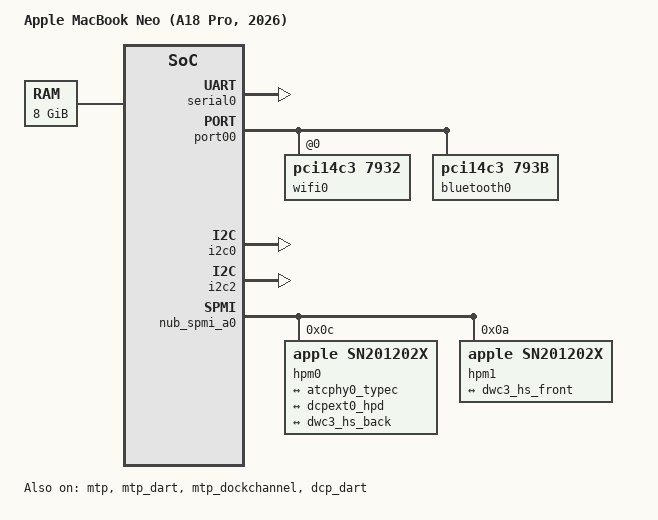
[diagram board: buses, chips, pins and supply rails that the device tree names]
// SPDX-License-Identifier: GPL-2.0-only
/*
 * Apple MacBook Neo (A18 Pro, 2026)
 *
 * target-type: J700
 *
 * Copyright The Asahi Linux Contributors
 */

/dts-v1/;

#include "t8140.dtsi"
#include "t8140-isp.dtsi"
#include "t8140-dcp-reference.dtsi"
#include "t8140-dcpext.dtsi"
#include "t8140-pmp.dtsi"

/ {
	compatible = "apple,j700", "apple,t8140", "apple,arm-platform";
	model = "Apple MacBook Neo (A18 Pro, 2026)";

	aliases {
		wifi0 = &wifi0;
		bluetooth0 = &bluetooth0;
		serial0 = &serial0;
		keyboard = &keyboard;
		atcphy0 = &atcphy0;
		//atcphy1 = &atcphy1;
	};

	chosen {
		#address-cells = <2>;
		#size-cells = <2>;
		ranges;
		stdout-path = "serial0";

		framebuffer0: framebuffer@0 {
			compatible = "apple,simple-framebuffer", "simple-framebuffer";
			reg = <0 0 0 0>; /* To be filled by loader */
			/* Format properties will be added by loader */
			status = "disabled";
		};
	};

	reserved-memory {
		#address-cells = <2>;
		#size-cells = <2>;
		ranges;
		/* To be filled by loader */
	};

	memory@800000000 {
		device_type = "memory";
		reg = <0x100 0 0x2 0>; /* To be filled by loader */
	};
};

&serial0 {
	status = "okay";
};

&port00 {
	wifi0: wifi@0,0 {
		compatible = "pci14c3,7932";
		reg = <0 0 0 0 0>;
		/* The bootloader supplies the factory address from the ADT. */
		local-mac-address = [00 00 00 00 00 00];
	};

	bluetooth0: bluetooth@0,1 {
		compatible = "pci14c3,793b";
		reg = <0x100 0 0 0 0>;
		/* Board bootstrap interval from the J700 ADT. */
		mediatek,bootstrap-delay-ms = <100>;
		/* m1n1 supplies the factory address through bluetooth0. */
		local-bd-address = [00 00 00 00 00 00];
	};
};

&mtp {
	status = "okay";
};
&mtp_mbox {
	status = "okay";
};
&mtp_dart {
	status = "okay";
};
&mtp_dockchannel {
	status = "okay";
};
&mtp_hid {
	multi-touch {
		firmware-name = "apple/tpmtfw-j700.bin";
	};
	mtp {
	};
	keyboard: keyboard {
		hid-country-code = <0>;
		apple,keyboard-layout-id = <0>;
	};
	stm {
	};
};
&i2c0 {
	status = "okay";
};
&i2c2 {
	status = "okay";
};

/* SN201202x owns USB-PD discovery and alternate-mode negotiation. Keep both
 * physical port descriptions separate; only the back port has the DP PHY.
 * IRQ layout matches the SN201202x transport used on M3/M4: the select IRQ
 * (13/39) is needed by Linux even though the macOS ADT lists irq/sleep/wake.
 */
&nub_spmi_a0 {
	hpm0: usb-pd@c {
		compatible = "apple,sn201202x";
		reg = <0xc SPMI_USID>;
		interrupts = <11 IRQ_TYPE_EDGE_RISING>,
			     <13 IRQ_TYPE_EDGE_RISING>,
			     <17 IRQ_TYPE_EDGE_RISING>,
			     <19 IRQ_TYPE_EDGE_RISING>;
		interrupt-names = "irq", "select", "sleep", "wake";

		typec0: connector {
			compatible = "usb-c-connector";
			label = "USB-C back-left";
			power-role = "dual";
			data-role = "host";
		};
	};

	hpm1: usb-pd@a {
		compatible = "apple,sn201202x";
		reg = <0xa SPMI_USID>;
		interrupts = <37 IRQ_TYPE_EDGE_RISING>,
			     <39 IRQ_TYPE_EDGE_RISING>,
			     <43 IRQ_TYPE_EDGE_RISING>,
			     <45 IRQ_TYPE_EDGE_RISING>;
		interrupt-names = "irq", "select", "sleep", "wake";

		typec1: connector {
			compatible = "usb-c-connector";
			label = "USB-C front-left (USB2)";
			power-role = "dual";
			data-role = "host";
		};
	};
};

/* Route live PD orientation and negotiated mode to the back-port PHY. */
&typec0 {
	ports {
		#address-cells = <1>;
		#size-cells = <0>;
		port@1 {
			reg = <1>;
			typec0_ss: endpoint {
				remote-endpoint = <&atcphy0_typec>;
			};
		};
	};
};

&atcphy0 {
	ports {
		#address-cells = <1>;
		#size-cells = <0>;
		port@0 {
			reg = <0>;
			atcphy0_typec: endpoint {
				remote-endpoint = <&typec0_ss>;
			};
		};
	};
};

&dcp_mbox {
	status = "okay";
};
&dcp_dart {
	status = "okay";
};

/* A separate HPD sink follows the physical lane mux in the connector graph. */
&typec0 {
	ports {
		port@2 {
			reg = <2>;
			typec0_hpd: endpoint {
				remote-endpoint = <&dcpext0_hpd>;
			};
		};
	};
};

&dcpext0 {
	mode-switch;
	port {
		dcpext0_hpd: endpoint {
			remote-endpoint = <&typec0_hpd>;
		};
	};
};

/* Retain the PMC register fabric used by DCP bandwidth transitions. */
&ps_pmc {
	apple,always-on;
};

/* Independent PD requests keep the shared host alive for either port. */
&dwc3_0 {
	apple,shared-host-ports;
	#address-cells = <1>;
	#size-cells = <0>;
	role-port@0 {
		reg = <0>;
		usb-role-switch;
		port { dwc3_hs_back: endpoint { remote-endpoint = <&typec0_hs>; }; };
	};
	role-port@1 {
		reg = <1>;
		usb-role-switch;
		port { dwc3_hs_front: endpoint { remote-endpoint = <&typec1_hs>; }; };
	};
};

&typec0 {
	ports {
		port@0 {
			reg = <0>;
			typec0_hs: endpoint { remote-endpoint = <&dwc3_hs_back>; };
		};
	};
};

&typec1 {
	ports {
		#address-cells = <1>;
		#size-cells = <0>;
		port@0 {
			reg = <0>;
			typec1_hs: endpoint { remote-endpoint = <&dwc3_hs_front>; };
		};
	};
};

/* Adopt the existing receive-only ASC FIFO handoff quirk. */
&dcp_mbox {
	apple,reset-recv-fifo-on-start;
};
&mtp_mbox {
	apple,reset-recv-fifo-on-start;
};
